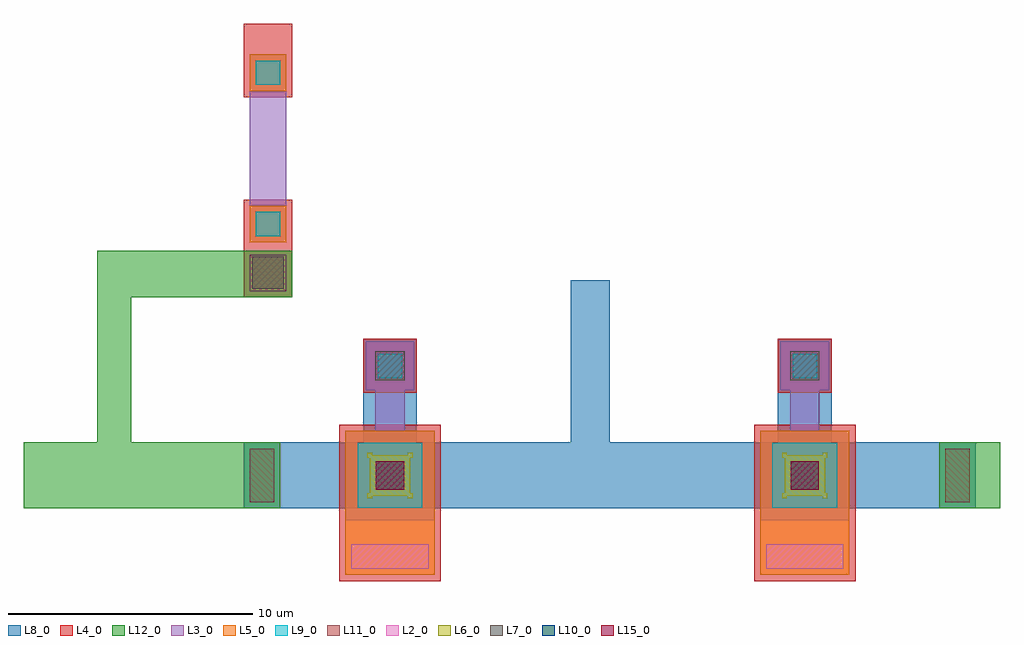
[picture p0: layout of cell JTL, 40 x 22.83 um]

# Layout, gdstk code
import gdstk
lib = gdstk.Library(unit=1e-6, precision=1e-09)
def R(c, l, rs):  # rectangles x0, y0, x1, y1
    for r in rs: c.add(gdstk.rectangle(r[:2], r[2:], *l))
def P(c, l, *ps):  # polygons
    for p in ps: c.add(gdstk.Polygon(p, *l))
L2_0 = (2, 0)
L3_0 = (3, 0)
L4_0 = (4, 0)
L5_0 = (5, 0)
L6_0 = (6, 0)
L7_0 = (7, 0)
L8_0 = (8, 0)
L9_0 = (9, 0)
L10_0 = (10, 0)
L11_0 = (11, 0)
L12_0 = (12, 0)
L15_0 = (15, 0)

jj10k_0 = lib.new_cell('JJ10K_0')
R(jj10k_0, L2_0, [(-1.58,-3.83,1.58,-2.83)])
R(jj10k_0, L3_0, [(-1.83,-1.83,1.83,1.83), (-1,3.49,1,5.49)])
R(jj10k_0, L4_0, [(-2.08,-4.33,2.08,-2.08), (-2.08,-2.08,2.08,2.08), (-1.1,3.39,1.1,5.59)])
R(jj10k_0, L5_0, [(-1.83,-4.08,1.83,-2.58), (-1.83,-2.58,1.83,-1.83), (-1.83,-1.83,1.83,1.83)])
R(jj10k_0, L6_0, [(-0.93,-0.93,-0.73,-0.73), (0.73,-0.93,0.93,-0.73), (-0.83,-0.83,0.83,0.83), (-0.93,0.73,-0.73,0.93), (0.73,0.73,0.93,0.93)])
R(jj10k_0, L7_0, [(-0.6,3.89,0.6,5.09)])
R(jj10k_0, L8_0, [(-1.1,-1.1,1.1,5.6)])
R(jj10k_0, L9_0, [(-1.33,-1.33,1.33,1.33), (-0.5,3.99,0.5,4.99)])
R(jj10k_0, L10_0, [(-0.58,-0.58,0.58,0.58)])
R(jj10k_0, L15_0, [(-0.58,-0.58,0.58,0.58)])
jj10k_0.add(gdstk.FlexPath([(0,1.33),(0,3.99)], 1.2, ends="flush", simple_path=True, layer=3, datatype=0))  # L3_0
jj10k_0.add(gdstk.Label('2', (0,-0.45), layer=15, texttype=0))

jj10k_2 = lib.new_cell('JJ10K_2')
R(jj10k_2, L2_0, [(-1.58,-3.83,1.58,-2.83)])
R(jj10k_2, L3_0, [(-1.83,-1.83,1.83,1.83), (-1,3.49,1,5.49)])
R(jj10k_2, L4_0, [(-2.08,-4.33,2.08,-2.08), (-2.08,-2.08,2.08,2.08), (-1.1,3.39,1.1,5.59)])
R(jj10k_2, L5_0, [(-1.83,-4.08,1.83,-2.58), (-1.83,-2.58,1.83,-1.83), (-1.83,-1.83,1.83,1.83)])
R(jj10k_2, L6_0, [(-0.93,-0.93,-0.73,-0.73), (0.73,-0.93,0.93,-0.73), (-0.83,-0.83,0.83,0.83), (-0.93,0.73,-0.73,0.93), (0.73,0.73,0.93,0.93)])
R(jj10k_2, L7_0, [(-0.6,3.89,0.6,5.09)])
R(jj10k_2, L8_0, [(-1.1,-1.1,1.1,5.6)])
R(jj10k_2, L9_0, [(-1.33,-1.33,1.33,1.33), (-0.5,3.99,0.5,4.99)])
R(jj10k_2, L10_0, [(-0.58,-0.58,0.58,0.58)])
R(jj10k_2, L15_0, [(-0.58,-0.58,0.58,0.58)])
jj10k_2.add(gdstk.FlexPath([(0,1.33),(0,3.99)], 1.2, ends="flush", simple_path=True, layer=3, datatype=0))  # L3_0
jj10k_2.add(gdstk.Label('3', (0,-0.45), layer=15, texttype=0))

jtl = lib.new_cell('JTL')
R(jtl, L3_0, [(5.25,29.55,6.75,31.05), (5.25,35.75,6.75,37.25)])
R(jtl, L4_0, [(5,27.3,7,29.3), (5.1,27.4,6.9,29.2), (5,29.3,7,31.3), (5,35.5,7,37.5), (5,37.5,7,38.5)])
R(jtl, L5_0, [(5.25,29.55,6.75,31.05), (5.25,35.75,6.75,37.25)])
R(jtl, L7_0, [(5.35,27.65,6.65,28.95)])
R(jtl, L8_0, [(5,18.65,35,21.35), (18.4,21,20,28)])
R(jtl, L9_0, [(5.5,29.8,6.5,30.8), (5.5,36,6.5,37)])
R(jtl, L11_0, [(5.25,18.9,6.25,21.1), (33.75,18.9,34.75,21.1), (5.25,27.55,6.75,29.05)])
R(jtl, L12_0, [(-4,18.65,6.5,21.35), (33.5,18.65,36,21.35)])
P(jtl, L12_0, [(-1,21),(0.4,21),(0.4,27.3),(7,27.3),(7,29.2),(-1,29.2)])
jtl.add(gdstk.FlexPath([(6,30.8),(6,36)], 1.5, ends="flush", simple_path=True, layer=3, datatype=0))  # L3_0
jtl.add(gdstk.Reference(jj10k_0, (11,20)))
jtl.add(gdstk.Reference(jj10k_2, (28,20)))

lib.write_gds('JTL.gds')
